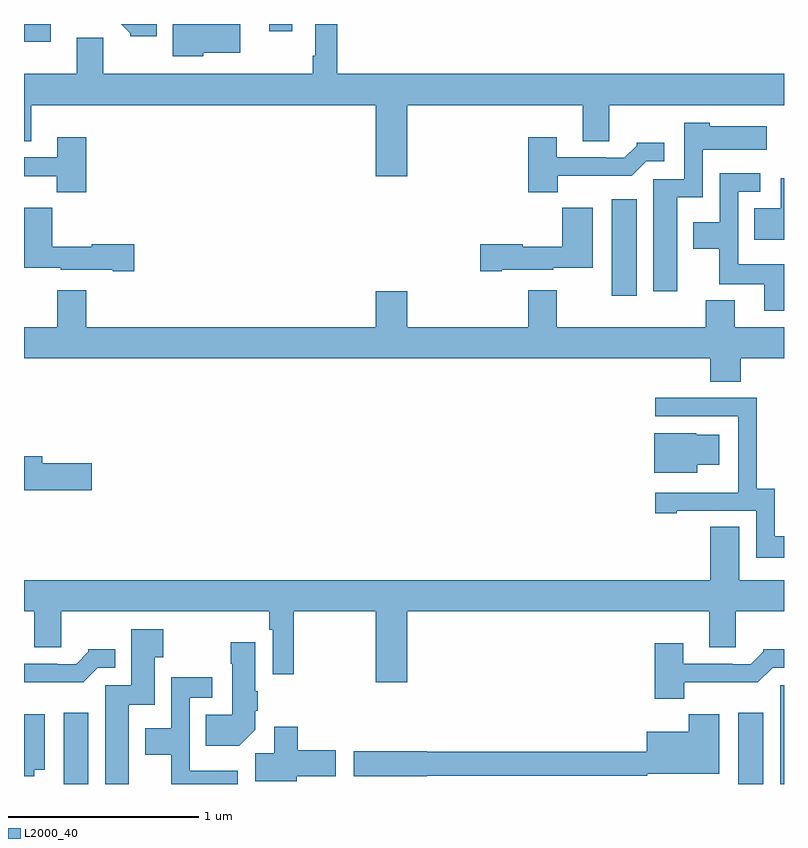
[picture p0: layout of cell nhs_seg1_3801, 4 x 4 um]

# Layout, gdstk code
import gdstk
lib = gdstk.Library(unit=1e-6, precision=1e-09)
def R(c, l, rs):  # rectangles x0, y0, x1, y1
    for r in rs: c.add(gdstk.rectangle(r[:2], r[2:], *l))
def P(c, l, *ps):  # polygons
    for p in ps: c.add(gdstk.Polygon(p, *l))
L2000_40 = (2000, 40)

nhs_seg1_3801 = lib.new_cell('nhs_seg1_3801')
R(nhs_seg1_3801, L2000_40, [(319.208,508.199,319.339,508.573), (322.76,508.199,322.891,508.573), (322.979,508.199,323,508.719), (322.094,510.768,322.225,511.276), (319,512.106,319.141,512.199), (320.291,512.16,320.413,512.199)])
P(nhs_seg1_3801, L2000_40, [(321.016,511.772),(321.941,511.772),(321.941,511.582),(322.081,511.582),(322.081,511.772),(323,511.772),(323,511.936),(320.648,511.936),(320.648,512.199),(320.532,512.199),(320.532,512.032),(320.52,512.032),(320.52,511.936),(319.417,511.936),(319.417,512.126),(319.277,512.126),(319.277,511.936),(319,511.936),(319,511.582),(319.039,511.582),(319.039,511.772),(320.852,511.772),(320.852,511.398),(321.016,511.398)],
  [(319.699,512.199),(319.511,512.199),(319.56,512.15),(319.56,512.135),(319.699,512.135)],
  [(319.944,512.048),(320.137,512.048),(320.137,512.199),(319.784,512.199),(319.784,512.03),(319.944,512.03)],
  [(322.438,511.286),(322.572,511.286),(322.572,511.538),(322.909,511.538),(322.909,511.66),(322.608,511.66),(322.608,511.678),(322.476,511.678),(322.476,511.383),(322.313,511.383),(322.313,510.792),(322.438,510.792)],
  [(319.328,511.603),(319.175,511.603),(319.175,511.497),(319,511.497),(319,511.398),(319.173,511.398),(319.173,511.313),(319.328,511.313)],
  [(321.808,511.4),(322.199,511.4),(322.275,511.476),(322.369,511.476),(322.369,511.573),(322.224,511.573),(322.224,511.558),(322.16,511.494),(322.061,511.494),(322.061,511.497),(321.805,511.497),(321.805,511.603),(321.653,511.603),(321.653,511.313),(321.808,511.313)],
  [(323,510.934),(322.758,510.934),(322.758,511.317),(322.876,511.317),(322.876,511.413),(322.662,511.413),(322.662,511.156),(322.523,511.156),(322.523,511.016),(322.66,511.016),(322.66,510.83),(322.895,510.83),(322.895,510.69),(323,510.69)],
  [(323,511.387),(322.982,511.387),(322.982,511.228),(322.843,511.228),(322.843,511.064),(323,511.064)],
  [(321.514,510.905),(321.786,510.905),(321.786,510.917),(321.994,510.917),(321.994,511.231),(321.832,511.231),(321.832,511.027),(321.624,511.027),(321.624,511.04),(321.402,511.04),(321.402,510.898),(321.514,510.898)],
  [(319.579,511.04),(319.356,511.04),(319.356,511.027),(319.148,511.027),(319.148,511.231),(319,511.231),(319,510.917),(319.194,510.917),(319.194,510.905),(319.466,510.905),(319.466,510.898),(319.579,510.898)],
  [(322.773,510.44),(323,510.44),(323,510.604),(322.741,510.604),(322.741,510.745),(322.589,510.745),(322.589,510.604),(321.805,510.604),(321.805,510.799),(321.653,510.799),(321.653,510.604),(321.016,510.604),(321.016,510.793),(320.852,510.793),(320.852,510.604),(319.328,510.604),(319.328,510.799),(319.175,510.799),(319.175,510.604),(319,510.604),(319,510.44),(322.613,510.44),(322.613,510.316),(322.773,510.316)],
  [(323,509.502),(322.951,509.502),(322.951,509.753),(322.857,509.753),(322.857,510.231),(322.323,510.231),(322.323,510.135),(322.758,510.135),(322.758,509.734),(322.757,509.734),(322.757,509.733),(322.323,509.733),(322.323,509.625),(322.435,509.625),(322.435,509.637),(322.854,509.637),(322.854,509.391),(323,509.391)],
  [(322.543,509.879),(322.66,509.879),(322.66,510.037),(322.539,510.037),(322.539,510.046),(322.316,510.046),(322.316,509.837),(322.543,509.837)],
  [(319.357,509.888),(319.096,509.888),(319.096,509.924),(319,509.924),(319,509.746),(319.357,509.746)],
  [(321.016,509.108),(322.607,509.108),(322.607,508.918),(322.747,508.918),(322.747,509.108),(323,509.108),(323,509.272),(322.765,509.272),(322.765,509.552),(322.613,509.552),(322.613,509.272),(319,509.272),(319,509.108),(319.055,509.108),(319.055,508.918),(319.195,508.918),(319.195,509.108),(320.29,509.108),(320.29,509.012),(320.31,509.012),(320.31,508.776),(320.419,508.776),(320.419,509.108),(320.852,509.108),(320.852,508.734),(321.016,508.734)],
  [(319.552,508.616),(319.687,508.616),(319.687,508.867),(319.734,508.867),(319.734,509.014),(319.565,509.014),(319.565,508.719),(319.427,508.719),(319.427,508.199),(319.552,508.199)],
  [(320.218,508.484),(320.218,508.585),(320.231,508.585),(320.231,508.688),(320.218,508.688),(320.218,508.945),(320.089,508.945),(320.089,508.832),(320.096,508.832),(320.096,508.564),(319.957,508.564),(319.957,508.4),(320.134,508.4)],
  [(322.474,508.734),(322.863,508.734),(322.941,508.812),(323,508.812),(323,508.909),(322.89,508.909),(322.89,508.894),(322.826,508.83),(322.727,508.83),(322.727,508.833),(322.471,508.833),(322.471,508.939),(322.319,508.939),(322.319,508.649),(322.474,508.649)],
  [(319.389,508.812),(319.48,508.812),(319.48,508.909),(319.338,508.909),(319.338,508.894),(319.274,508.83),(319.175,508.83),(319.175,508.833),(319,508.833),(319,508.734),(319.311,508.734)],
  [(320.125,508.27),(319.872,508.27),(319.872,508.653),(319.99,508.653),(319.99,508.762),(319.776,508.762),(319.776,508.492),(319.637,508.492),(319.637,508.352),(319.774,508.352),(319.774,508.199),(320.125,508.199)],
  [(321.12,508.242),(322.281,508.242),(322.281,508.253),(322.66,508.253),(322.66,508.567),(322.498,508.567),(322.498,508.474),(322.277,508.474),(322.277,508.37),(321.12,508.37),(321.12,508.371),(320.736,508.371),(320.736,508.241),(321.12,508.241)],
  [(319.053,508.274),(319.108,508.274),(319.108,508.567),(319,508.567),(319,508.241),(319.053,508.241)],
  [(320.436,508.241),(320.641,508.241),(320.641,508.376),(320.44,508.376),(320.44,508.501),(320.318,508.501),(320.318,508.361),(320.216,508.361),(320.216,508.214),(320.436,508.214)])

lib.write_gds('nhs_seg1_3801.gds')
